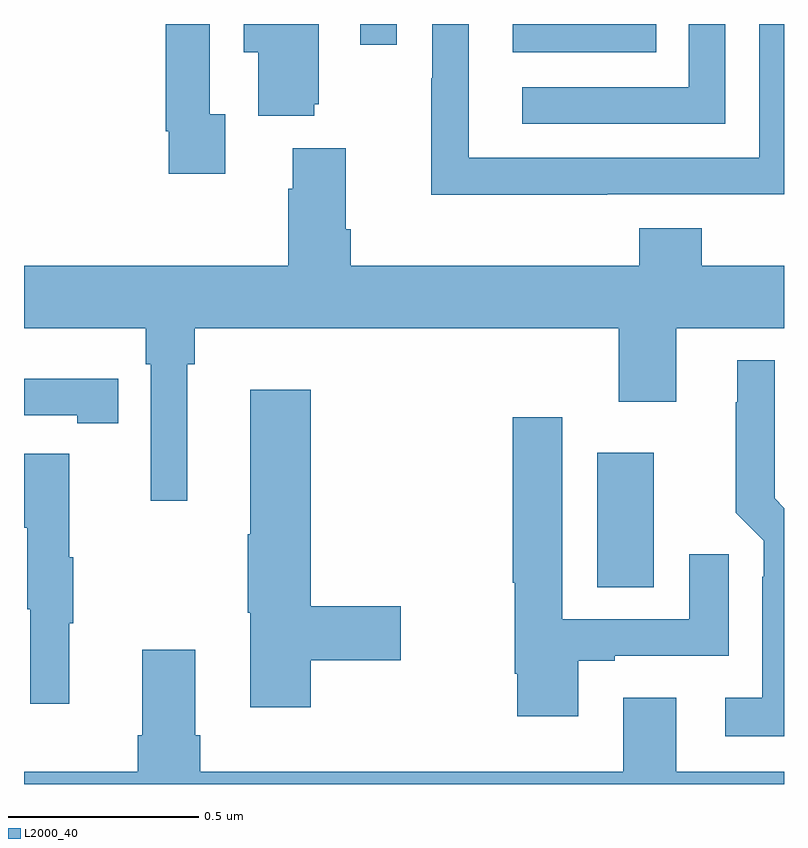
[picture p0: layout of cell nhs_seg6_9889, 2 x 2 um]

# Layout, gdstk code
import gdstk
lib = gdstk.Library(unit=1e-6, precision=1e-09)
def R(c, l, rs):  # rectangles x0, y0, x1, y1
    for r in rs: c.add(gdstk.rectangle(r[:2], r[2:], *l))
def P(c, l, *ps):  # polygons
    for p in ps: c.add(gdstk.Polygon(p, *l))
L2000_40 = (2000, 40)

nhs_seg6_9889 = lib.new_cell('nhs_seg6_9889')
R(nhs_seg6_9889, L2000_40, [(241.508,916.018,241.657,916.372), (241.286,917.426,241.664,917.5), (240.885,917.445,240.981,917.5)])
P(nhs_seg6_9889, L2000_40, [(241.535,917.052),(242,917.052),(242,917.5),(241.935,917.5),(241.935,917.148),(241.17,917.148),(241.17,917.5),(241.074,917.5),(241.074,917.357),(241.072,917.357),(241.072,917.051),(241.535,917.051)],
  [(241.845,917.5),(241.749,917.5),(241.749,917.334),(241.311,917.334),(241.311,917.238),(241.845,917.238)],
  [(240.764,917.289),(240.775,917.289),(240.775,917.5),(240.578,917.5),(240.578,917.426),(240.617,917.426),(240.617,917.258),(240.764,917.258)],
  [(240.529,917.262),(240.489,917.262),(240.489,917.5),(240.373,917.5),(240.373,917.218),(240.381,917.218),(240.381,917.106),(240.529,917.106)],
  [(240.43,916.604),(240.449,916.604),(240.449,916.7),(241.565,916.7),(241.565,916.506),(241.717,916.506),(241.717,916.7),(242,916.7),(242,916.864),(241.784,916.864),(241.784,916.963),(241.619,916.963),(241.619,916.864),(240.86,916.864),(240.86,916.96),(240.847,916.96),(240.847,917.173),(240.707,917.173),(240.707,917.066),(240.695,917.066),(240.695,916.864),(240,916.864),(240,916.7),(240.32,916.7),(240.32,916.604),(240.333,916.604),(240.333,916.245),(240.43,916.245)],
  [(242,916.226),(241.975,916.252),(241.975,916.615),(241.877,916.615),(241.877,916.505),(241.873,916.505),(241.873,916.214),(241.947,916.14),(241.947,916.046),(241.943,916.046),(241.943,915.727),(241.845,915.727),(241.845,915.626),(242,915.626)],
  [(240.248,916.566),(240.14,916.566),(240.14,916.567),(240,916.567),(240,916.47),(240.14,916.47),(240.14,916.45),(240.248,916.45)],
  [(240.755,915.826),(240.991,915.826),(240.991,915.968),(240.755,915.968),(240.755,916.537),(240.596,916.537),(240.596,916.157),(240.589,916.157),(240.589,915.951),(240.596,915.951),(240.596,915.702),(240.755,915.702)],
  [(241.459,915.825),(241.555,915.825),(241.555,915.837),(241.855,915.837),(241.855,916.105),(241.751,916.105),(241.751,915.933),(241.417,915.933),(241.417,916.465),(241.286,916.465),(241.286,916.03),(241.291,916.03),(241.291,915.79),(241.298,915.79),(241.298,915.678),(241.459,915.678)],
  [(240.119,915.923),(240.13,915.923),(240.13,916.097),(240.119,916.097),(240.119,916.369),(240.001,916.369),(240.001,916.29),(240,916.29),(240,916.174),(240.009,916.174),(240.009,915.96),(240.016,915.96),(240.016,915.711),(240.119,915.711)],
  [(242,915.532),(241.717,915.532),(241.717,915.727),(241.577,915.727),(241.577,915.532),(240.464,915.532),(240.464,915.628),(240.451,915.628),(240.451,915.853),(240.311,915.853),(240.311,915.628),(240.299,915.628),(240.299,915.532),(240,915.532),(240,915.5),(242,915.5)])

lib.write_gds('nhs_seg6_9889.gds')
